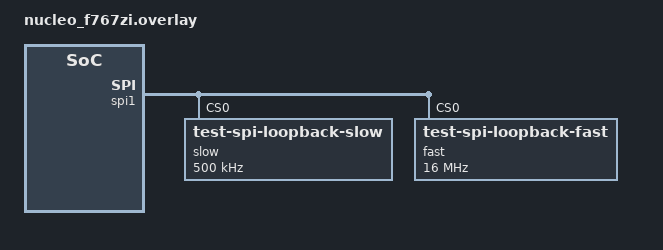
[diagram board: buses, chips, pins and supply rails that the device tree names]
/*
 * Copyright (c) 2021 STMicroelectronics
 *
 * SPDX-License-Identifier: Apache-2.0
 */

/* Arduino Header pins: MOSI:D11, MISO:D12 */
&spi1 {
	dmas = <&dma2 5 3 STM32_DMA_PERIPH_TX STM32_DMA_FIFO_FULL>,
	       <&dma2 2 3 STM32_DMA_PERIPH_RX STM32_DMA_FIFO_FULL>;
	dma-names = "tx", "rx";

	slow@0 {
		compatible = "test-spi-loopback-slow";
		reg = <0>;
		spi-max-frequency = <DT_FREQ_K(500)>;
	};

	fast@0 {
		compatible = "test-spi-loopback-fast";
		reg = <0>;
		spi-max-frequency = <DT_FREQ_M(16)>;
	};
};

&dma2 {
	status = "okay";
};
